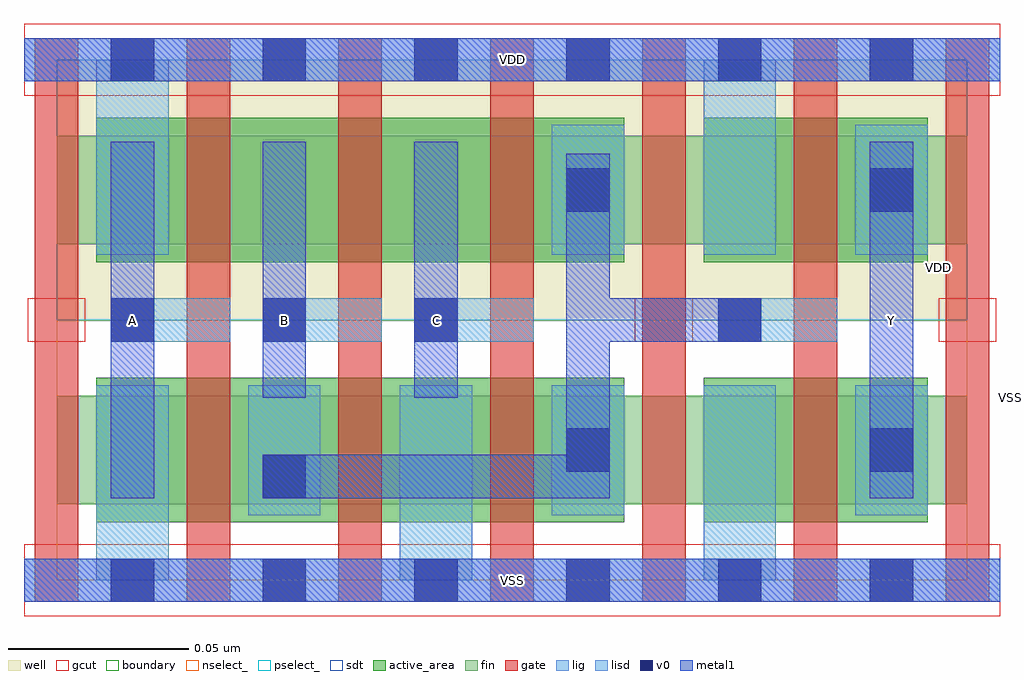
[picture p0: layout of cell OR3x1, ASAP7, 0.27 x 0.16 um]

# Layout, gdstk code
import gdstk
lib = gdstk.Library(unit=1e-6, precision=2.5e-10)
def R(c, l, rs):  # rectangles x0, y0, x1, y1
    for r in rs: c.add(gdstk.rectangle(r[:2], r[2:], *l))
def A(c, l, x, y, w, h, nx, ny, dx, dy):  # array of equal rectangles
    R(c, l, [(x+i*dx, y+j*dy, x+i*dx+w, y+j*dy+h) for i in range(nx) for j in range(ny)])
def P(c, l, *ps):  # polygons
    for p in ps: c.add(gdstk.Polygon(p, *l))
well = (1, 0)
fin = (2, 0)
gate = (7, 0)
gcut = (10, 0)
active_area = (11, 0)
nselect_ = (12, 0)
pselect_ = (13, 0)
lig = (16, 0)
lisd = (17, 0)
v0 = (18, 0)
metal1 = (19, 0)
sdt = (88, 0)
boundary = (100, 0)

or3x1 = lib.new_cell('OR3x1')
R(or3x1, well, [(0,0.072,0.252,0.144)])
R(or3x1, fin, [(0,0.021,0.252,0.051), (0,0.093,0.252,0.123)])
A(or3x1, gate, -0.006, -0.006, 0.012, 0.156, 7, 1, 0.042, 0)
R(or3x1, gcut, [(-0.009,-0.01,0.261,0.01), (-0.008,0.066,0.008,0.078), (0.16,0.066,0.176,0.078), (0.244,0.066,0.26,0.078), (-0.009,0.134,0.261,0.154)])
R(or3x1, active_area, [(0.011,0.016,0.157,0.056), (0.179,0.016,0.241,0.056), (0.011,0.088,0.157,0.128), (0.179,0.088,0.241,0.128)])
R(or3x1, nselect_, [(0,0,0.252,0.072)])
R(or3x1, pselect_, [(0,0.072,0.252,0.144)])
A(or3x1, lig, 0.015, 0.066, 0.033, 0.012, 3, 1, 0.042, 0)
R(or3x1, lig, [(-0.009,-0.006,0.261,0.006), (0.183,0.066,0.216,0.078), (-0.009,0.138,0.261,0.15)])
A(or3x1, lisd, 0.011, 0, 0.02, 0.054, 3, 1, 0.084, 0)
A(or3x1, lisd, 0.053, 0.018, 0.02, 0.036, 3, 1, 0.084, 0)
R(or3x1, lisd, [(0.011,0.09,0.031,0.144), (0.137,0.09,0.157,0.126), (0.179,0.09,0.199,0.144), (0.221,0.09,0.241,0.126)])
A(or3x1, v0, 0.015, -0.006, 0.012, 0.012, 6, 2, 0.042, 0.144)
A(or3x1, v0, 0.015, 0.066, 0.012, 0.012, 3, 1, 0.042, 0)
R(or3x1, v0, [(0.057,0.0227,0.069,0.0348), (0.141,0.03,0.153,0.042), (0.225,0.03,0.237,0.042), (0.183,0.066,0.195,0.078), (0.141,0.102,0.153,0.114), (0.225,0.102,0.237,0.114)])
R(or3x1, metal1, [(-0.009,-0.006,0.261,0.006), (0.015,0.0227,0.027,0.1212), (0.225,0.0227,0.237,0.1212), (0.057,0.0505,0.069,0.1212), (0.099,0.0505,0.111,0.1212), (-0.009,0.138,0.261,0.15)])
P(or3x1, metal1, [(0.141,0.118),(0.141,0.0348),(0.057,0.0348),(0.057,0.0227),(0.153,0.0227),(0.153,0.066),(0.195,0.066),(0.195,0.078),(0.153,0.078),(0.153,0.118)])
A(or3x1, sdt, 0.011, 0.021, 0.02, 0.03, 6, 1, 0.042, 0)
A(or3x1, sdt, 0.137, 0.093, 0.02, 0.03, 3, 1, 0.042, 0)
R(or3x1, sdt, [(0.011,0.093,0.031,0.123)])
R(or3x1, boundary, [(0,0,0.252,0.144)])
or3x1.add(gdstk.Label('VDD', (0.244,0.0865), layer=1, texttype=251))
or3x1.add(gdstk.Label('VSS', (0.265,0.0505), layer=3, texttype=251))
or3x1.add(gdstk.Label('C', (0.105,0.072), layer=19, texttype=251))
or3x1.add(gdstk.Label('Y', (0.231,0.072), layer=19, texttype=251))
or3x1.add(gdstk.Label('A', (0.021,0.072), layer=19, texttype=251))
or3x1.add(gdstk.Label('VSS', (0.126,0), layer=19, texttype=251))
or3x1.add(gdstk.Label('VDD', (0.126,0.144), layer=19, texttype=251))
or3x1.add(gdstk.Label('B', (0.063,0.072), layer=19, texttype=251))

lib.write_gds('OR3x1.gds')
